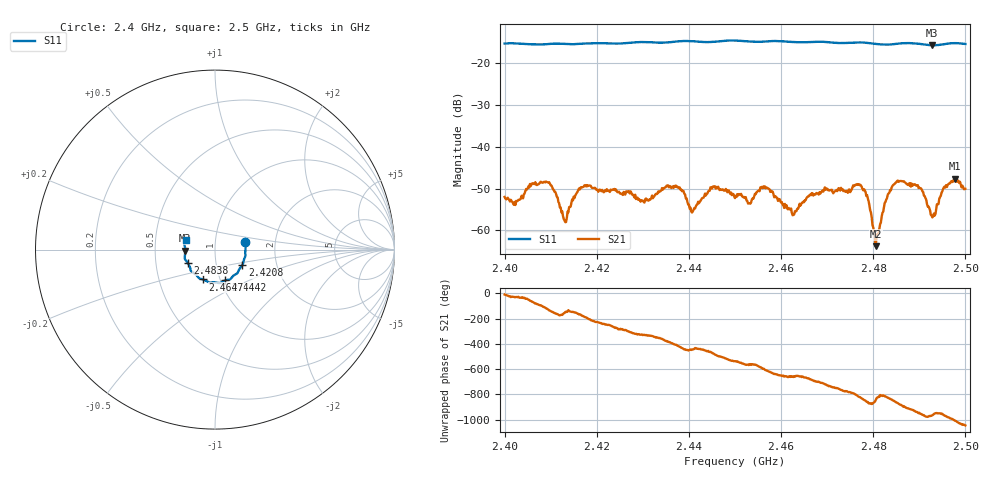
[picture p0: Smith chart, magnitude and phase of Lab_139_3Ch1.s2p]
# Hz S RI R 50
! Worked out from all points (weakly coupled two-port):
!   601 points, 2.4 GHz to 2.5 GHz, reference 50 ohm
!   highest |S21| = -47.64 dB at 2.4977 GHz (marker M1); lowest = -63.8 dB at 2.4805 GHz (marker M2)
!   lowest |S11| = -15.6 dB at 2.4928 GHz (marker M3), VSWR 1.40, Z = 35.8 - j0.378 ohm
!   |S11| at or under -10 dB: start of sweep to end of sweep
!   S12 and S22 are empty: the file has one direction only
!   S11 on the Smith chart (normalised r, x): 2.4 GHz: 1.40, +0.12; 2.4208 GHz: 1.33, -0.24; 2.4442 GHz: 1.05, -0.37; 2.4647 GHz: 0.83, -0.29; 2.4838 GHz: 0.73, -0.11; 2.5 GHz: 0.72, +0.08
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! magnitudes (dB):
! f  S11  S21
! 2.4 GHz  -15.2  -52.0
! 2.4092 GHz  -15.4  -48.4
! 2.4132 GHz  -15.3  -58.1
! 2.4167 GHz  -15.3  -49.7
! 2.4208 GHz  -15.1  -50.4
! 2.4333 GHz  -15.0  -50.7
! 2.4375 GHz  -14.7  -49.5
! 2.4407 GHz  -14.6  -55.8
! 2.4442 GHz  -14.9  -50.8
! 2.45 GHz  -14.5  -52.3
! 2.456 GHz  -14.8  -49.9
! 2.4647 GHz  -14.9  -53.4
! 2.4667 GHz  -14.8  -51.1
! 2.477 GHz  -15.0  -49.2
! 2.4787 GHz  -15.1  -51.6
! 2.4805 GHz  -15.3  -63.8
! 2.4833 GHz  -15.5  -51.2
! 2.4838 GHz  -15.4  -50.4
! 2.4895 GHz  -15.2  -49.3
! 2.4928 GHz  -15.6  -56.9
! 2.4977 GHz  -15.1  -47.6
! 2.5 GHz  -15.3  -50.1
